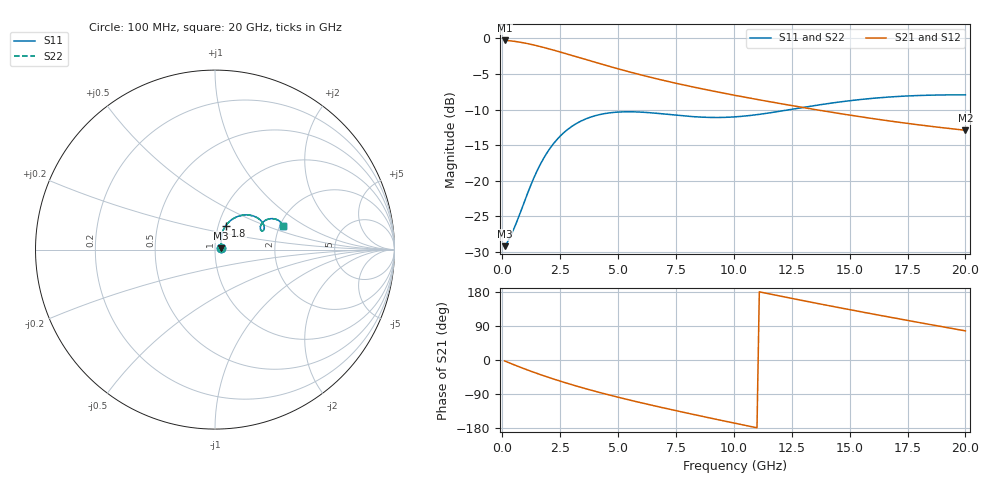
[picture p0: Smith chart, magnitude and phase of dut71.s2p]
! Touchstone file exported from HFSS 2023.1.0
!  File:  D:/Users/fzz/RDL_TSV/temp_RDL_TSV_71_1778746897.aedt
!  Generated:  4:32:37 %x4E0B%x5348  5%x6708 14, 2026
!  Design:  RDL_TSV
!  Project:  temp_RDL_TSV_71_1778746897
!  Setup:  Setup1
!  Solution:  Sweep
! Variables:
!  dtsv = 17.31um
!  hbump = 3um
!  htsv = 59.72um
!  ldown = 654.76um
!  lrdl = 541.21um
!  p = 40
!  p1 = 50.32um
!  rhole = 10um
!  subl = 4129.12um
!  t = 450um
!  tdown = 2.76um
!  trdl = 3.93um
!  viad = 10um
!  wdown = 10.98um
!  wrdl = 15.45um
!  xbump = 18um
# GHz S MA R 50.000000
! Terminal data exported
! Port[1] = TM1_1_T1
! Port[2] = TM1_4_T1
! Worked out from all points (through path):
!   200 points, 100 MHz to 20 GHz, reference 50 ohm
!   highest |S21| = -0.31 dB at 100 MHz (marker M1); lowest = -12.9 dB at 20 GHz (marker M2)
!   group delay of S21, straight-line fit = 37.2 ps
!   lowest |S11| = -29.2 dB at 100 MHz (marker M3), VSWR 1.07, Z = 53.5 + j0.675 ohm
!   |S11| at or under -10 dB: start of sweep to 12.45 GHz
!   |S22| runs from -29.2 to -8.0 dB; largest |S21 - S12| = 9e-15
!   S11 on the Smith chart (normalised r, x): 100 MHz: 1.07, +0.01; 1.8 GHz: 1.08, +0.29; 20 GHz: 2.08, +0.66
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0.1  0.03473 10.4  0.9653 -2.5  0.9653 -2.5  0.03473 10.4
! Gamma 0 0 0 0
! Port Impedance 50 0 50 0
0.5  0.04601 41.3  0.9529 -12.5  0.9529 -12.5  0.04602 41.3
1  0.07454 62.1  0.9238 -24.3  0.9238 -24.3  0.07451 62.1
1.4  0.108 67.0  0.8939 -33.3  0.8939 -33.3  0.1079 66.9
1.8  0.145 66.0  0.861 -41.8  0.861 -41.8  0.1448 65.9
2.2  0.181 62.2  0.8268 -49.9  0.8268 -49.9  0.1807 62.2
2.6  0.2132 57.5  0.7924 -57.7  0.7924 -57.7  0.2129 57.4
3  0.2405 52.4  0.7585 -65.1  0.7585 -65.1  0.2401 52.3
3.5  0.2671 46.3  0.7177 -74.0  0.7177 -74.0  0.2666 46.2
4.3  0.2935 37.7  0.6573 -87.3  0.6573 -87.3  0.2929 37.6
5.1  0.304 30.8  0.6041 -99.7  0.6041 -99.7  0.3033 30.8
5.9  0.3037 25.9  0.5579 -111.5  0.5579 -111.5  0.3029 25.8
6.8  0.2961 22.6  0.5134 -124.1  0.5134 -124.1  0.2952 22.5
7.6  0.2875 21.6  0.4793 -135.0  0.4793 -135.0  0.2866 21.5
8.4  0.2807 22.0  0.4495 -145.6  0.4495 -145.6  0.2796 22.0
10.1  0.2812 26.0  0.3962 -167.6  0.3962 -167.6  0.2801 26.0
11.8  0.304 29.5  0.3527 171.2  0.3527 171.2  0.3029 29.5
13.4  0.3352 30.0  0.3182 151.7  0.3182 151.7  0.3341 30.0
15  0.3645 28.2  0.2889 132.9  0.2889 132.9  0.3635 28.3
16.7  0.3869 25.2  0.263 113.4  0.263 113.4  0.3859 25.2
18.3  0.398 22.1  0.2432 95.6  0.2432 95.6  0.3971 22.2
20  0.4007 19.3  0.2261 76.8  0.2261 76.8  0.3999 19.4
